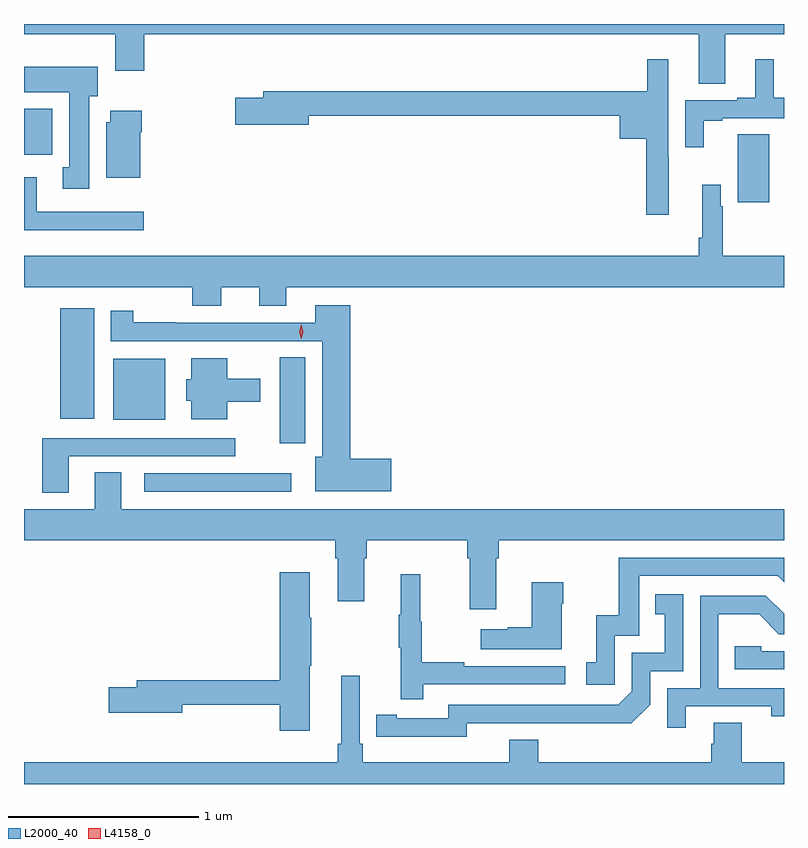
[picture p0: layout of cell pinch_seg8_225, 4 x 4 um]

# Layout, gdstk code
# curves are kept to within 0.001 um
import gdstk
lib = gdstk.Library(unit=1e-6, precision=1e-09)
def R(c, l, rs):  # rectangles x0, y0, x1, y1
    for r in rs: c.add(gdstk.rectangle(r[:2], r[2:], *l))
def P(c, l, *ps):  # polygons
    for p in ps: c.add(gdstk.Polygon(p, *l))
L2000_40 = (2000, 40)
L4158_0 = (4158, 0)

pinch_seg8_225 = lib.new_cell('pinch_seg8_225')
R(pinch_seg8_225, L2000_40, [(683.895,1102.104,684.667,1102.2), (684.608,1102.359,684.742,1102.811), (683.732,1102.481,684.004,1102.804), (683.453,1102.487,683.632,1103.068), (687.017,1103.628,687.184,1103.984), (683.261,1103.876,683.41,1104.118)])
P(pinch_seg8_225, L2000_40, [(686.953,1104.512),(687.261,1104.512),(687.261,1104.565),(683.261,1104.565),(683.261,1104.512),(683.741,1104.512),(683.741,1104.318),(683.894,1104.318),(683.894,1104.512),(686.813,1104.512),(686.813,1104.25),(686.953,1104.25)],
  [(686.654,1103.864),(686.652,1103.864),(686.652,1104.379),(686.54,1104.379),(686.54,1104.211),(684.521,1104.211),(684.521,1104.177),(684.372,1104.177),(684.372,1104.035),(684.76,1104.035),(684.76,1104.082),(686.396,1104.082),(686.396,1103.96),(686.536,1103.96),(686.536,1103.562),(686.654,1103.562)],
  [(686.839,1104.057),(686.935,1104.057),(686.935,1104.069),(687.261,1104.069),(687.261,1104.178),(687.208,1104.178),(687.208,1104.379),(687.11,1104.379),(687.11,1104.178),(687.014,1104.178),(687.014,1104.165),(686.742,1104.165),(686.742,1103.916),(686.839,1103.916)],
  [(683.605,1104.186),(683.65,1104.186),(683.65,1104.34),(683.261,1104.34),(683.261,1104.206),(683.498,1104.206),(683.498,1103.81),(683.465,1103.81),(683.465,1103.697),(683.605,1103.697)],
  [(683.872,1103.996),(683.88,1103.996),(683.88,1104.109),(683.714,1104.109),(683.714,1104.048),(683.693,1104.048),(683.693,1103.756),(683.872,1103.756)],
  [(683.89,1103.577),(683.329,1103.577),(683.329,1103.758),(683.261,1103.758),(683.261,1103.48),(683.89,1103.48)],
  [(684.298,1103.18),(684.5,1103.18),(684.5,1103.081),(684.64,1103.081),(684.64,1103.18),(687.261,1103.18),(687.261,1103.344),(686.939,1103.344),(686.939,1103.606),(686.928,1103.606),(686.928,1103.719),(686.831,1103.719),(686.831,1103.44),(686.812,1103.44),(686.812,1103.344),(683.261,1103.344),(683.261,1103.18),(684.146,1103.18),(684.146,1103.081),(684.298,1103.081)],
  [(685.195,1102.277),(684.977,1102.277),(684.977,1103.086),(684.794,1103.086),(684.794,1102.992),(684.062,1102.992),(684.062,1102.994),(683.835,1102.994),(683.835,1103.056),(683.717,1103.056),(683.717,1102.896),(684.83,1102.896),(684.83,1102.288),(684.794,1102.288),(684.794,1102.106),(685.195,1102.106)],
  [(684.331,1102.577),(684.505,1102.577),(684.505,1102.699),(684.331,1102.699),(684.331,1102.807),(684.14,1102.807),(684.14,1102.695),(684.116,1102.695),(684.116,1102.581),(684.14,1102.581),(684.14,1102.484),(684.331,1102.484)],
  [(683.497,1102.29),(684.373,1102.29),(684.373,1102.386),(683.357,1102.386),(683.357,1102.098),(683.497,1102.098)],
  [(683.773,1102.205),(683.633,1102.205),(683.633,1102.012),(683.261,1102.012),(683.261,1101.848),(684.899,1101.848),(684.899,1101.752),(684.911,1101.752),(684.911,1101.528),(685.051,1101.528),(685.051,1101.752),(685.064,1101.752),(685.064,1101.848),(685.595,1101.848),(685.595,1101.752),(685.607,1101.752),(685.607,1101.486),(685.747,1101.486),(685.747,1101.752),(685.76,1101.752),(685.76,1101.848),(687.261,1101.848),(687.261,1102.012),(683.773,1102.012)],
  [(686.37,1101.345),(686.499,1101.345),(686.499,1101.66),(687.228,1101.66),(687.261,1101.627),(687.261,1101.756),(686.391,1101.756),(686.391,1101.454),(686.273,1101.454),(686.273,1101.207),(686.22,1101.207),(686.22,1101.087),(686.37,1101.087)],
  [(684.766,1101.187),(684.774,1101.187),(684.774,1101.44),(684.766,1101.44),(684.766,1101.679),(684.608,1101.679),(684.608,1101.11),(683.855,1101.11),(683.855,1101.074),(683.706,1101.074),(683.706,1100.939),(684.094,1100.939),(684.094,1100.982),(684.608,1100.982),(684.608,1100.844),(684.766,1100.844)],
  [(685.361,1101.09),(686.11,1101.09),(686.11,1101.186),(685.577,1101.186),(685.577,1101.206),(685.354,1101.206),(685.354,1101.42),(685.346,1101.42),(685.346,1101.67),(685.244,1101.67),(685.244,1101.457),(685.233,1101.457),(685.233,1101.283),(685.244,1101.283),(685.244,1101.012),(685.361,1101.012)],
  [(686.092,1101.515),(686.1,1101.515),(686.1,1101.628),(685.934,1101.628),(685.934,1101.389),(685.808,1101.389),(685.808,1101.379),(685.665,1101.379),(685.665,1101.275),(686.092,1101.275)],
  [(685.59,1100.886),(686.458,1100.885),(686.556,1100.982),(686.556,1101.159),(686.73,1101.159),(686.73,1101.565),(686.584,1101.565),(686.584,1101.459),(686.633,1101.459),(686.633,1101.255),(686.46,1101.255),(686.46,1101.054),(686.388,1100.982),(685.494,1100.982),(685.494,1100.91),(685.222,1100.91),(685.222,1100.93),(685.114,1100.93),(685.114,1100.814),(685.59,1100.813)],
  [(686.743,1100.973),(687.194,1100.973),(687.194,1100.922),(687.261,1100.922),(687.261,1101.069),(686.916,1101.069),(686.916,1101.458),(687.13,1101.458),(687.234,1101.354),(687.261,1101.354),(687.261,1101.46),(687.166,1101.555),(686.82,1101.555),(686.82,1101.069),(686.646,1101.069),(686.646,1100.862),(686.743,1100.862)],
  [(687.261,1101.264),(687.141,1101.264),(687.141,1101.291),(687.001,1101.291),(687.001,1101.168),(687.261,1101.168)],
  [(687.261,1100.68),(687.039,1100.68),(687.039,1100.888),(686.891,1100.888),(686.891,1100.778),(686.879,1100.778),(686.879,1100.68),(685.967,1100.68),(685.967,1100.797),(685.814,1100.797),(685.814,1100.68),(685.043,1100.68),(685.043,1100.776),(685.029,1100.776),(685.029,1101.136),(684.932,1101.136),(684.932,1100.776),(684.913,1100.776),(684.913,1100.68),(683.261,1100.68),(683.261,1100.565),(687.261,1100.565)])
P(pinch_seg8_225, L4158_0, [(684.72,1102.909),(684.72,1102.909),(684.71,1102.945),(684.72,1102.981),(684.72,1102.981),(684.72,1102.981),(684.73,1102.945),(684.72,1102.909)])

lib.write_gds('pinch_seg8_225.gds')
